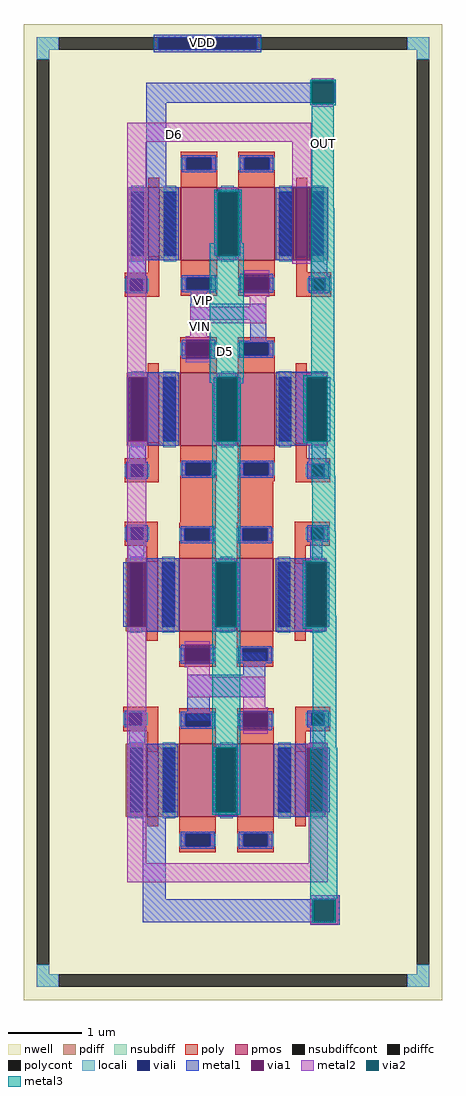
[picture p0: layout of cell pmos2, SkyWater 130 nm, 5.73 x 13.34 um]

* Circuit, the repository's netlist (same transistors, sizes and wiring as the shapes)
** sch_path: /home/afgar/opamp/mag/pmos2.sch
.subckt pmos2 VDD D5 VIN VIP OUT D6
*.PININFO VIN:I VIP:I D6:B VDD:B D5:B OUT:O
Xm7 D5 VIP OUT VDD sky130_fd_pr__pfet_01v8 L=0.5 W=1 nf=1 m=4
XM6 D6 VIN D5 VDD sky130_fd_pr__pfet_01v8 L=0.5 W=1 nf=1 m=4
XM1 D6 D6 D6 VDD sky130_fd_pr__pfet_01v8 L=0.15 W=1 nf=1 m=4
XM2 OUT OUT OUT VDD sky130_fd_pr__pfet_01v8 L=0.15 W=1 nf=1 m=4
.ends
.end

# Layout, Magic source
magic
tech sky130A
magscale 1 2
<< nwell >>
rect -335 -914 810 746
rect -335 -915 90 -914
rect 181 -915 810 -914
rect -335 -1922 810 -915
<< pdiff >>
rect 184 -1233 230 -1221
<< nsubdiff >>
rect -299 676 -239 710
rect 714 676 774 710
rect -299 650 -265 676
rect 740 650 774 676
rect -299 -1852 -265 -1826
rect 740 -1852 774 -1826
rect -299 -1886 -239 -1852
rect 714 -1886 774 -1852
<< nsubdiffcont >>
rect -239 676 714 710
rect -299 -1826 -265 650
rect 740 -1826 774 650
rect -239 -1886 714 -1852
<< poly >>
rect 6 66 36 113
rect -59 50 36 66
rect -59 16 -43 50
rect -9 16 36 50
rect -59 0 36 16
rect 410 67 440 111
rect 410 51 506 67
rect 410 17 456 51
rect 490 17 506 51
rect 410 1 506 17
rect 5 -441 35 -397
rect -58 -457 35 -441
rect -58 -491 -42 -457
rect -8 -491 35 -457
rect -58 -507 35 -491
rect 409 -441 439 -399
rect 409 -457 503 -441
rect 409 -491 453 -457
rect 487 -491 503 -457
rect -58 -630 32 -614
rect 93 -617 191 -503
rect 251 -617 348 -504
rect 409 -507 503 -491
rect -58 -664 -42 -630
rect -8 -664 32 -630
rect -58 -680 32 -664
rect 2 -724 32 -680
rect 406 -630 502 -614
rect 406 -664 452 -630
rect 486 -664 502 -630
rect 406 -680 502 -664
rect 406 -730 436 -680
rect -62 -1137 33 -1121
rect -62 -1171 -46 -1137
rect -12 -1171 33 -1137
rect -62 -1187 33 -1171
rect 3 -1245 33 -1187
rect 407 -1137 503 -1121
rect 407 -1171 453 -1137
rect 487 -1171 503 -1137
rect 407 -1187 503 -1171
rect 407 -1243 437 -1187
<< polycont >>
rect -43 16 -9 50
rect 456 17 490 51
rect -42 -491 -8 -457
rect 453 -491 487 -457
rect -42 -664 -8 -630
rect 452 -664 486 -630
rect -46 -1171 -12 -1137
rect 453 -1171 487 -1137
<< locali >>
rect -299 676 -239 710
rect 714 676 774 710
rect -299 650 -265 676
rect 740 650 774 676
rect -59 16 -43 50
rect -9 16 7 50
rect 440 17 456 51
rect 490 17 506 51
rect -58 -491 -42 -457
rect -8 -491 8 -457
rect 437 -491 453 -457
rect 487 -491 503 -457
rect -58 -664 -42 -630
rect -8 -664 8 -630
rect 436 -664 452 -630
rect 486 -664 502 -630
rect -62 -1171 -46 -1137
rect -12 -1171 4 -1137
rect 437 -1171 453 -1137
rect 487 -1171 503 -1137
rect -299 -1852 -265 -1826
rect 740 -1852 774 -1826
rect -299 -1886 -239 -1852
rect 714 -1886 774 -1852
<< viali >>
rect 33 676 303 710
rect 33 675 303 676
rect -43 16 -9 50
rect 456 17 490 51
rect -42 -491 -8 -457
rect 453 -491 487 -457
rect -42 -664 -8 -630
rect 452 -664 486 -630
rect -46 -1171 -12 -1137
rect 453 -1171 487 -1137
<< metal1 >>
rect 21 710 315 716
rect 21 675 33 710
rect 303 675 315 710
rect 21 669 315 675
rect 455 586 510 592
rect 0 531 455 586
rect 0 300 55 531
rect 455 525 510 531
rect -50 100 89 300
rect 186 112 196 288
rect 248 112 258 288
rect 355 100 400 300
rect 452 100 496 300
rect -50 56 -1 100
rect -55 50 3 56
rect -55 16 -43 50
rect -9 16 3 50
rect -55 10 3 16
rect 122 -19 166 19
rect 258 11 268 63
rect 336 11 346 63
rect 450 57 495 100
rect 444 51 502 57
rect 444 17 456 51
rect 490 17 502 51
rect 444 11 502 17
rect 450 10 495 11
rect 121 -63 328 -19
rect 99 -169 109 -117
rect 177 -169 187 -117
rect 284 -126 328 -63
rect -50 -219 89 -206
rect 356 -219 495 -205
rect -50 -395 -49 -219
rect 3 -395 89 -219
rect 185 -395 195 -219
rect 247 -395 257 -219
rect 356 -395 441 -219
rect 493 -395 503 -219
rect -50 -406 89 -395
rect 356 -405 495 -395
rect -46 -451 -1 -406
rect 445 -451 492 -405
rect -54 -457 4 -451
rect -54 -491 -42 -457
rect -8 -491 4 -457
rect -54 -497 4 -491
rect 441 -457 499 -451
rect 441 -491 453 -457
rect 487 -491 499 -457
rect 441 -497 499 -491
rect -46 -498 -1 -497
rect -50 -624 -5 -623
rect -54 -630 4 -624
rect -54 -664 -42 -630
rect -8 -664 4 -630
rect -54 -670 4 -664
rect 440 -630 498 -624
rect 440 -664 452 -630
rect 486 -664 498 -630
rect 440 -670 498 -664
rect -50 -715 -5 -670
rect 448 -714 482 -670
rect -51 -726 90 -715
rect -62 -902 -52 -726
rect 0 -902 90 -726
rect 190 -726 242 -715
rect 354 -726 489 -714
rect 190 -727 194 -726
rect -51 -915 90 -902
rect 181 -902 194 -727
rect 246 -902 256 -726
rect 354 -902 439 -726
rect 491 -902 501 -726
rect 181 -915 242 -902
rect 354 -915 489 -902
rect 96 -1003 106 -951
rect 174 -1003 184 -951
rect 265 -1033 326 -973
rect 113 -1094 326 -1033
rect -58 -1137 0 -1131
rect -58 -1171 -46 -1137
rect -12 -1171 0 -1137
rect 113 -1158 174 -1094
rect -58 -1177 0 -1171
rect -46 -1221 -4 -1177
rect 255 -1184 265 -1132
rect 333 -1184 343 -1132
rect 441 -1137 499 -1131
rect 441 -1171 453 -1137
rect 487 -1171 499 -1137
rect 441 -1177 499 -1171
rect 448 -1221 489 -1177
rect -52 -1422 86 -1221
rect 197 -1233 249 -1221
rect 183 -1409 193 -1233
rect 245 -1409 249 -1233
rect 197 -1421 249 -1409
rect 349 -1233 489 -1221
rect 349 -1409 440 -1233
rect 492 -1409 502 -1233
rect 349 -1421 489 -1409
rect -9 -1646 54 -1422
rect 448 -1646 529 -1636
rect -9 -1709 455 -1646
rect 518 -1709 529 -1646
rect 448 -1716 529 -1709
<< via1 >>
rect 455 531 510 586
rect 196 112 248 288
rect 400 100 452 300
rect 268 11 336 63
rect 109 -169 177 -117
rect -49 -395 3 -219
rect 195 -395 247 -219
rect 441 -395 493 -219
rect -52 -902 0 -726
rect 194 -902 246 -726
rect 439 -902 491 -726
rect 106 -1003 174 -951
rect 265 -1184 333 -1132
rect 193 -1409 245 -1233
rect 440 -1409 492 -1233
rect 455 -1709 518 -1646
<< metal2 >>
rect 453 589 513 598
rect 449 531 453 586
rect 513 531 516 586
rect 453 520 513 529
rect -52 424 452 476
rect -52 -209 0 424
rect 400 300 452 424
rect 196 288 252 298
rect 196 102 252 112
rect 400 90 452 100
rect 268 63 336 73
rect 268 1 336 11
rect 283 -27 328 1
rect 121 -72 328 -27
rect 121 -107 166 -72
rect 109 -117 177 -107
rect 109 -179 177 -169
rect -52 -219 3 -209
rect -52 -395 -49 -219
rect -52 -405 3 -395
rect 193 -219 249 -209
rect 193 -405 249 -395
rect 439 -219 495 -209
rect 439 -405 495 -395
rect -52 -726 0 -405
rect -52 -1548 0 -902
rect 191 -726 247 -716
rect 191 -912 247 -902
rect 438 -726 494 -716
rect 438 -912 494 -902
rect 106 -951 174 -941
rect 106 -1013 174 -1003
rect 113 -1039 174 -1013
rect 113 -1095 326 -1039
rect 265 -1122 326 -1095
rect 265 -1132 333 -1122
rect 265 -1194 333 -1184
rect 445 -1223 497 -1219
rect 191 -1233 247 -1223
rect 191 -1419 247 -1409
rect 440 -1233 497 -1223
rect 492 -1409 497 -1233
rect 440 -1419 497 -1409
rect 445 -1548 497 -1419
rect -52 -1600 497 -1548
rect 448 -1646 525 -1636
rect 448 -1709 455 -1646
rect 518 -1709 525 -1646
rect 448 -1715 525 -1709
<< via2 >>
rect 453 586 513 589
rect 453 531 455 586
rect 455 531 510 586
rect 510 531 513 586
rect 453 529 513 531
rect 196 112 248 288
rect 248 112 252 288
rect 193 -395 195 -219
rect 195 -395 247 -219
rect 247 -395 249 -219
rect 439 -395 441 -219
rect 441 -395 493 -219
rect 493 -395 495 -219
rect 191 -902 194 -726
rect 194 -902 246 -726
rect 246 -902 247 -726
rect 438 -902 439 -726
rect 439 -902 491 -726
rect 491 -902 494 -726
rect 191 -1409 193 -1233
rect 193 -1409 245 -1233
rect 245 -1409 247 -1233
rect 458 -1706 514 -1650
<< metal3 >>
rect 448 589 518 594
rect 448 529 453 589
rect 513 529 518 589
rect 448 524 518 529
rect 186 288 262 293
rect 186 146 196 288
rect 174 112 196 146
rect 252 146 262 288
rect 453 242 513 524
rect 252 112 267 146
rect 174 -219 267 112
rect 452 -214 514 242
rect 429 -219 514 -214
rect 174 -235 193 -219
rect 181 -395 193 -235
rect 249 -236 266 -219
rect 249 -395 259 -236
rect 181 -400 259 -395
rect 429 -395 439 -219
rect 495 -232 514 -219
rect 495 -395 516 -232
rect 429 -400 516 -395
rect 181 -726 258 -400
rect 453 -489 516 -400
rect 453 -513 517 -489
rect 454 -641 517 -513
rect 454 -721 519 -641
rect 181 -902 191 -726
rect 247 -902 258 -726
rect 181 -1233 258 -902
rect 428 -726 519 -721
rect 428 -902 438 -726
rect 494 -871 519 -726
rect 494 -902 520 -871
rect 428 -907 520 -902
rect 455 -1233 520 -907
rect 181 -1409 191 -1233
rect 247 -1409 258 -1233
rect 181 -1415 258 -1409
rect 448 -1645 522 -1233
rect 453 -1650 519 -1645
rect 453 -1706 458 -1650
rect 514 -1706 519 -1650
rect 453 -1711 519 -1706
use sky130_fd_pr__pfet_01v8_2XUZHN  sky130_fd_pr__pfet_01v8_2XUZHN_0
transform 1 0 20 0 1 -307
box -109 -162 109 162
use sky130_fd_pr__pfet_01v8_2XUZHN  sky130_fd_pr__pfet_01v8_2XUZHN_1
transform 1 0 18 0 1 -1321
box -109 -162 109 162
use sky130_fd_pr__pfet_01v8_2XUZHN  sky130_fd_pr__pfet_01v8_2XUZHN_2
transform 1 0 422 0 1 -1321
box -109 -162 109 162
use sky130_fd_pr__pfet_01v8_2XUZHN  sky130_fd_pr__pfet_01v8_2XUZHN_3
transform 1 0 17 0 1 -814
box -109 -162 109 162
use sky130_fd_pr__pfet_01v8_2XUZHN  sky130_fd_pr__pfet_01v8_2XUZHN_4
transform 1 0 421 0 1 -814
box -109 -162 109 162
use sky130_fd_pr__pfet_01v8_2XUZHN  sky130_fd_pr__pfet_01v8_2XUZHN_5
transform 1 0 424 0 1 -307
box -109 -162 109 162
use sky130_fd_pr__pfet_01v8_2XUZHN  sky130_fd_pr__pfet_01v8_2XUZHN_6
transform 1 0 425 0 1 200
box -109 -162 109 162
use sky130_fd_pr__pfet_01v8_2XUZHN  sky130_fd_pr__pfet_01v8_2XUZHN_7
transform 1 0 21 0 1 200
box -109 -162 109 162
use sky130_fd_pr__pfet_01v8_BHVYY6  sky130_fd_pr__pfet_01v8_BHVYY6_0
transform 1 0 220 0 1 -1321
box -223 -200 223 200
use sky130_fd_pr__pfet_01v8_BHVYY6  sky130_fd_pr__pfet_01v8_BHVYY6_1
transform 1 0 223 0 1 200
box -223 -200 223 200
use sky130_fd_pr__pfet_01v8_BHVYY6  sky130_fd_pr__pfet_01v8_BHVYY6_2
transform 1 0 222 0 1 -307
box -223 -200 223 200
use sky130_fd_pr__pfet_01v8_BHVYY6  sky130_fd_pr__pfet_01v8_BHVYY6_3
transform 1 0 219 0 1 -814
box -223 -200 223 200
<< labels >>
flabel viali 153 695 153 695 0 FreeSans 800 0 0 0 VDD
port 0 nsew
flabel metal2 77 445 77 445 0 FreeSans 800 0 0 0 D6
port 1 nsew
flabel metal1 156 -9 156 -9 0 FreeSans 800 0 0 0 VIP
port 2 nsew
flabel metal2 149 -82 149 -82 0 FreeSans 800 0 0 0 VIN
port 3 nsew
flabel metal3 218 -148 218 -148 0 FreeSans 800 0 0 0 D5
port 4 nsew
flabel metal3 485 418 485 418 0 FreeSans 800 0 0 0 OUT
port 5 nsew
<< end >>

# cell sky130_fd_pr__pfet_01v8_2XUZHN: kit device sky130_fd_pr__pfet_01v8, w 1 l 0.15 m 1 nf 1 diffcov 100 polycov 100 guard 0 glc 1 grc 1 gtc 1 gbc 1 tbcov 100 rlcov 100 topc 0 botc 0 poverlap 0 doverlap 1 lmin 0.15 wmin 0.42 compatible {sky130_fd_pr__pfet_01v8 sky130_fd_pr__pfet_01v8_lvt sky130_fd_pr__pfet_01v8_hvt sky130_fd_pr__pfet_g5v0d10v5} full_metal 1 viasrc 100 viadrn 100 viagate 100 viagb 0 viagr 0 viagl 0 viagt 0

# cell sky130_fd_pr__pfet_01v8_BHVYY6: kit device sky130_fd_pr__pfet_01v8, w 1 l 0.5 m 1 nf 2 diffcov 100 polycov 100 guard 0 glc 1 grc 1 gtc 1 gbc 1 tbcov 100 rlcov 100 topc 1 botc 1 poverlap 0 doverlap 1 lmin 0.15 wmin 0.42 compatible {sky130_fd_pr__pfet_01v8 sky130_fd_pr__pfet_01v8_lvt sky130_fd_pr__pfet_01v8_hvt sky130_fd_pr__pfet_g5v0d10v5} full_metal 1 viasrc 100 viadrn 100 viagate 100 viagb 0 viagr 0 viagl 0 viagt 0
